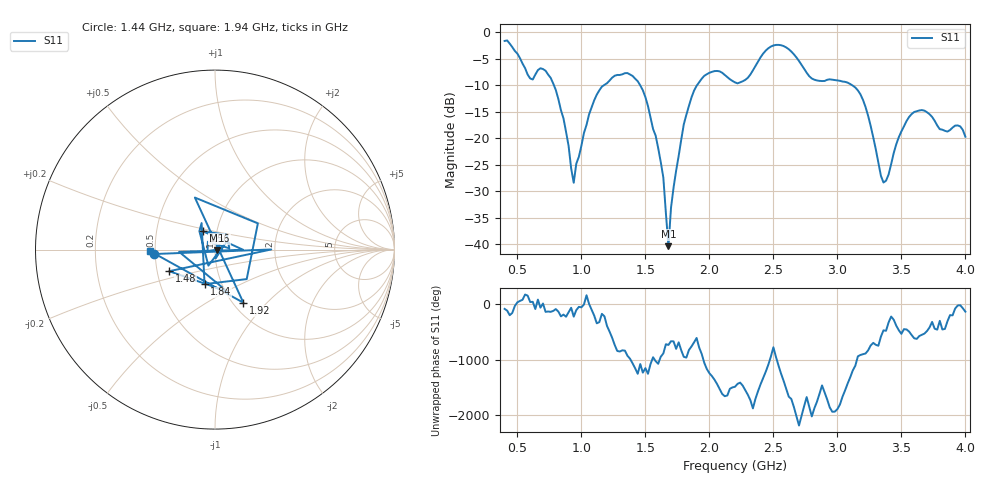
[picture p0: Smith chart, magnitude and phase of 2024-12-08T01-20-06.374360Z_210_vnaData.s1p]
!Created with skrf (http://scikit-rf.org).
# Hz S RI R 50.0
!freq ReS11 ImS11
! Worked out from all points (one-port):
!   181 points, 400 MHz to 4 GHz, reference 50 ohm
!   lowest |S11| = -40.4 dB at 1.68 GHz (marker M1), VSWR 1.02, Z = 50.9 - j0.241 ohm
!   |S11| at or under -10 dB: 784.4 MHz to 1.178 GHz (393.8 MHz wide, 40.1 % of centre); 1.458 GHz to 1.905 GHz (446.5 MHz wide, 26.6 % of centre); 3.113 GHz to end of sweep
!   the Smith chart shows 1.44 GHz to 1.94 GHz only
!   S11 on the Smith chart (normalised r, x): 1.44 GHz: 0.49, -0.03; 1.48 GHz: 0.58, -0.15; 1.56 GHz: 0.86, +0.18; 1.84 GHz: 0.83, -0.33; 1.92 GHz: 1.11, -0.74; 1.94 GHz: 0.47, -0.01
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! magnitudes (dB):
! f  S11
! 400 MHz  -1.7
! 600 MHz  -8.8
! 720 MHz  -7.3
! 860 MHz  -16.3
! 940 MHz  -28.4
! 1.1 GHz  -12.9
! 1.3 GHz  -8.1
! 1.44 GHz  -9.3
! 1.48 GHz  -11.0
! 1.56 GHz  -18.3
! 1.64 GHz  -27.4
! 1.68 GHz  -40.4
! 1.7 GHz  -33.2
! 1.76 GHz  -23.4
! 1.84 GHz  -13.9
! 1.92 GHz  -9.5
! 1.94 GHz  -8.8
! 2.06 GHz  -7.3
! 2.2 GHz  -9.5
! 2.48 GHz  -2.7
! 2.66 GHz  -4.2
! 2.8 GHz  -8.8
! 3.1 GHz  -9.8
! 3.22 GHz  -14.2
! 3.36 GHz  -28.4
! 3.56 GHz  -16.0
! 3.68 GHz  -14.8
! 4 GHz  -19.8
